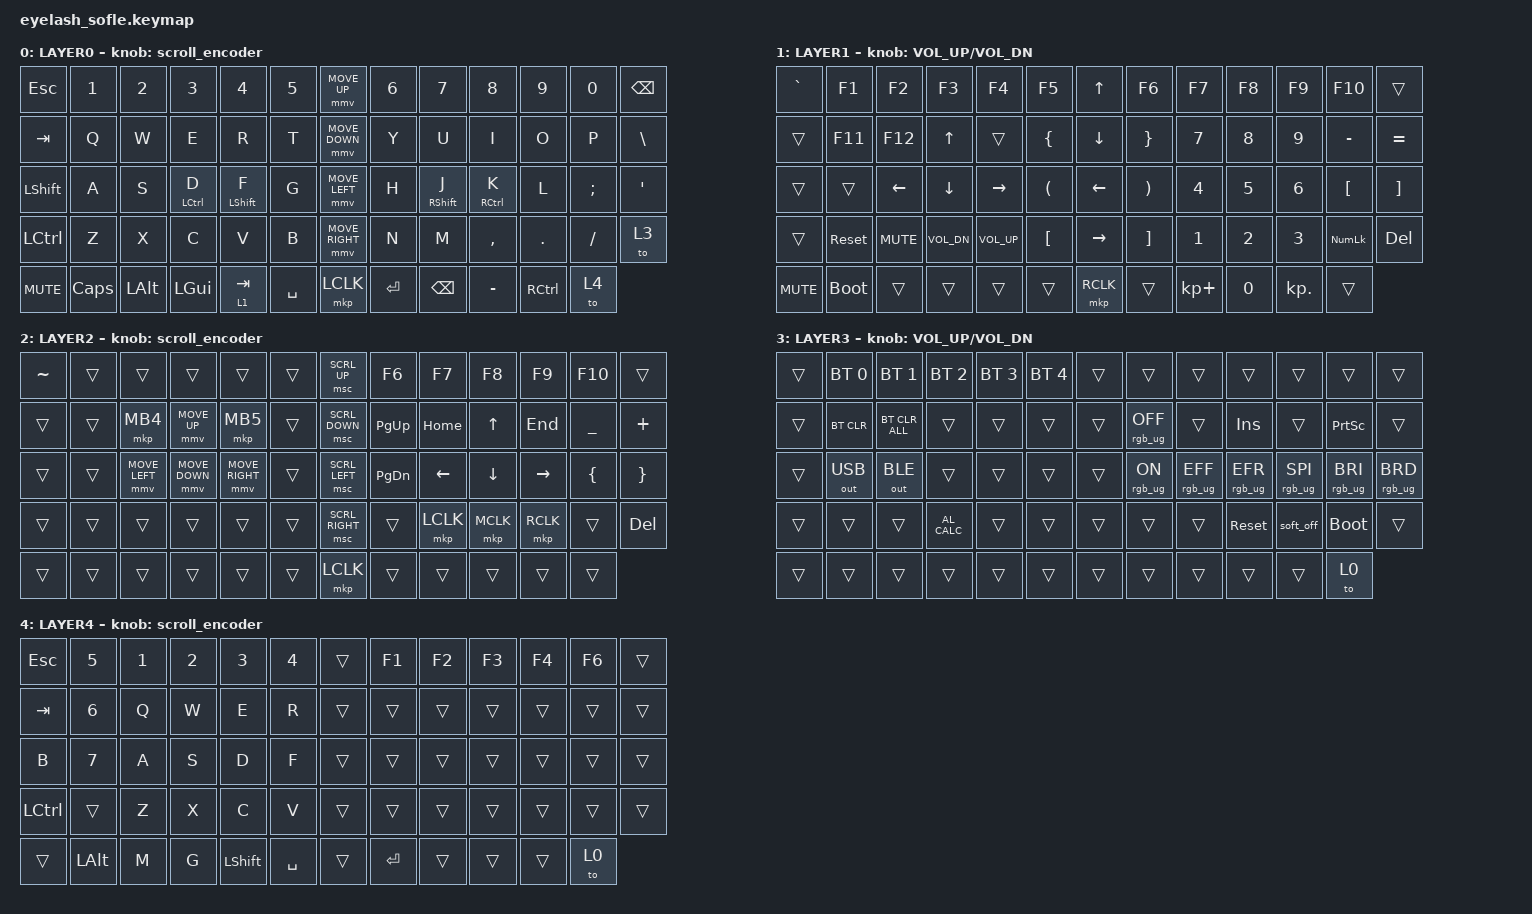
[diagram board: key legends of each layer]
#define ZMK_POINTING_DEFAULT_MOVE_VAL 1200  // 600
#define ZMK_POINTING_DEFAULT_SCRL_VAL 25   // 10

#include <input/processors.dtsi>
#include <zephyr/dt-bindings/input/input-event-codes.h>
#include <behaviors.dtsi>
#include <dt-bindings/zmk/bt.h>
#include <dt-bindings/zmk/keys.h>
#include <dt-bindings/zmk/outputs.h>
#include <dt-bindings/zmk/pointing.h>
#include <dt-bindings/zmk/rgb.h>

&mmv_input_listener { input-processors = <&zip_xy_scaler 2 1>; };

&msc_input_listener { input-processors = <&zip_scroll_scaler 2 1>; };

&msc {
    acceleration-exponent = <1>;      // 0
    time-to-max-speed-ms = <100>;       // 300
    delay-ms = <0>;                   // 0
};

&mmv {
    time-to-max-speed-ms = <500>;
    acceleration-exponent = <1>;
    trigger-period-ms = <16>;
};

&soft_off { hold-time-ms = <2000>; };

/ {
    scroll_encoder: scroll_encoder {
        compatible = "zmk,behavior-sensor-rotate";
        #sensor-binding-cells = <0>;
        bindings = <&msc SCRL_DOWN>, <&msc SCRL_UP>;

        tap-ms = <100>;
    };

    homerow: homerow {
        compatible = "zmk,behavior-hold-tap";
        label = "HOMEROW";
        bindings = <&mo>, <&kp>;

        #binding-cells = <2>;
        tapping-term-ms = <300>;
        flavor = "tap-preferred";
        require-prior-idle-ms = <25>;
    };

    kphomerow: kphomerow {
        compatible = "zmk,behavior-hold-tap";
        label = "KPHOMEROW";
        bindings = <&kp>, <&kp>;

        #binding-cells = <2>;
        tapping-term-ms = <280>;
        require-prior-idle-ms = <150>;
        quick-tap-ms = <175>;
        flavor = "balanced";
    };

    behaviors {
    };

    combos {
        compatible = "zmk,combos";

        softoff {
            bindings = <&soft_off>;
            key-positions = <14 28 40>;
        };

        backspace {
            bindings = <&kp BACKSPACE>;
            key-positions = <34 35>;
        };

        printscreen {
            bindings = <&kp PRINTSCREEN>;
            key-positions = <34 35 36>;
        };
    };

    keymap {
        compatible = "zmk,keymap";

        layer0 {
            bindings = <
&kp ESC         &kp N1    &kp N2        &kp N3              &kp N4                   &kp N5       &mmv MOVE_UP     &kp N6     &kp N7                    &kp N8                      &kp N9     &kp N0    &kp BACKSPACE
&kp TAB         &kp Q     &kp W         &kp E               &kp R                    &kp T        &mmv MOVE_DOWN   &kp Y      &kp U                     &kp I                       &kp O      &kp P     &kp BSLH
&kp LEFT_SHIFT  &kp A     &kp S         &kphomerow LCTRL D  &kphomerow LEFT_SHIFT F  &kp G        &mmv MOVE_LEFT   &kp H      &kphomerow RIGHT_SHIFT J  &kphomerow RIGHT_CONTROL K  &kp L      &kp SEMI  &kp APOS
&kp LCTRL       &kp Z     &kp X         &kp C               &kp V                    &kp B        &mmv MOVE_RIGHT  &kp N      &kp M                     &kp COMMA                   &kp DOT    &kp FSLH  &to 3
&kp C_MUTE      &kp CAPS  &kp LEFT_ALT  &kp LEFT_GUI        &homerow 1 TAB           &kp SPACE    &mkp LCLK        &kp ENTER  &kp BACKSPACE             &kp MINUS                   &kp RCTRL  &to 4
            >;

            sensor-bindings = <&scroll_encoder>;
            display-name = "LAYER0";
        };

        layer_1 {
            bindings = <
&kp GRAVE   &kp F1       &kp F2          &kp F3        &kp F4           &kp F5                  &kp UP_ARROW     &kp F6                 &kp F7        &kp F8        &kp F9        &kp F10           &trans
&trans      &kp F11      &kp F12         &kp UP_ARROW  &trans           &kp LEFT_BRACE          &kp DOWN_ARROW   &kp RIGHT_BRACE        &kp NUMBER_7  &kp NUMBER_8  &kp NUMBER_9  &kp MINUS         &kp EQUAL
&trans      &trans       &kp LEFT_ARROW  &kp DOWN      &kp RIGHT_ARROW  &kp LEFT_PARENTHESIS    &kp LEFT_ARROW   &kp RIGHT_PARENTHESIS  &kp NUMBER_4  &kp NUMBER_5  &kp NUMBER_6  &kp LEFT_BRACKET  &kp RIGHT_BRACKET
&trans      &sys_reset   &kp C_MUTE      &kp C_VOL_DN  &kp C_VOLUME_UP  &kp LEFT_BRACKET        &kp RIGHT_ARROW  &kp RIGHT_BRACKET      &kp NUMBER_1  &kp NUMBER_2  &kp NUMBER_3  &kp KP_NUMLOCK    &kp DELETE
&kp C_MUTE  &bootloader  &trans          &trans        &trans           &trans                  &mkp RCLK        &trans                 &kp KP_PLUS   &kp NUMBER_0  &kp KP_DOT    &trans
            >;

            sensor-bindings = <&inc_dec_kp C_VOLUME_UP C_VOL_DN>;
            display-name = "LAYER1";
        };

        layer_2 {
            bindings = <
&kp TILDE  &trans  &trans          &trans          &trans           &trans    &msc SCRL_UP     &kp F6     &kp F7     &kp F8     &kp F9     &kp F10    &trans
&trans     &trans  &mkp MB4        &mmv MOVE_UP    &mkp MB5         &trans    &msc SCRL_DOWN   &kp PG_UP  &kp HOME   &kp UP     &kp END    &kp UNDER  &kp PLUS
&trans     &trans  &mmv MOVE_LEFT  &mmv MOVE_DOWN  &mmv MOVE_RIGHT  &trans    &msc SCRL_LEFT   &kp PG_DN  &kp LEFT   &kp DOWN   &kp RIGHT  &kp LBRC   &kp RBRC
&trans     &trans  &trans          &trans          &trans           &trans    &msc SCRL_RIGHT  &trans     &mkp LCLK  &mkp MCLK  &mkp RCLK  &trans     &kp DELETE
&trans     &trans  &trans          &trans          &trans           &trans    &mkp LCLK        &trans     &trans     &trans     &trans     &trans
            >;

            display-name = "LAYER2";
            sensor-bindings = <&scroll_encoder>;
        };

        layer_3 {
            bindings = <
&trans  &bt BT_SEL 0  &bt BT_SEL 1    &bt BT_SEL 2   &bt BT_SEL 3  &bt BT_SEL 4    &trans  &trans           &trans           &trans           &trans           &trans           &trans
&trans  &bt BT_CLR    &bt BT_CLR_ALL  &trans         &trans        &trans          &trans  &rgb_ug RGB_OFF  &trans           &kp INSERT       &trans           &kp PRINTSCREEN  &trans
&trans  &out OUT_USB  &out OUT_BLE    &trans         &trans        &trans          &trans  &rgb_ug RGB_ON   &rgb_ug RGB_EFF  &rgb_ug RGB_EFR  &rgb_ug RGB_SPI  &rgb_ug RGB_BRI  &rgb_ug RGB_BRD
&trans  &trans        &trans          &kp C_AL_CALC  &trans        &trans          &trans  &trans           &trans           &sys_reset       &soft_off        &bootloader      &trans
&trans  &trans        &trans          &trans         &trans        &trans          &trans  &trans           &trans           &trans           &trans           &to 0
            >;

            display-name = "LAYER3";
            sensor-bindings = <&inc_dec_kp C_VOLUME_UP C_VOL_DN>;
        };

        layer_4 {
            bindings = <
&kp ESCAPE        &kp N5        &kp NUMBER_1  &kp NUMBER_2  &kp NUMBER_3    &kp NUMBER_4    &trans  &kp F1     &kp F2  &kp F3  &kp F4  &kp F6  &trans
&kp TAB           &kp NUMBER_6  &kp Q         &kp W         &kp E           &kp R           &trans  &trans     &trans  &trans  &trans  &trans  &trans
&kp B             &kp N7        &kp A         &kp S         &kp D           &kp F           &trans  &trans     &trans  &trans  &trans  &trans  &trans
&kp LEFT_CONTROL  &trans        &kp Z         &kp X         &kp C           &kp V           &trans  &trans     &trans  &trans  &trans  &trans  &trans
&trans            &kp LEFT_ALT  &kp M         &kp G         &kp LEFT_SHIFT  &kp SPACE       &trans  &kp ENTER  &trans  &trans  &trans  &to 0
            >;

            display-name = "LAYER4";
            sensor-bindings = <&scroll_encoder>;
        };
    };
};
